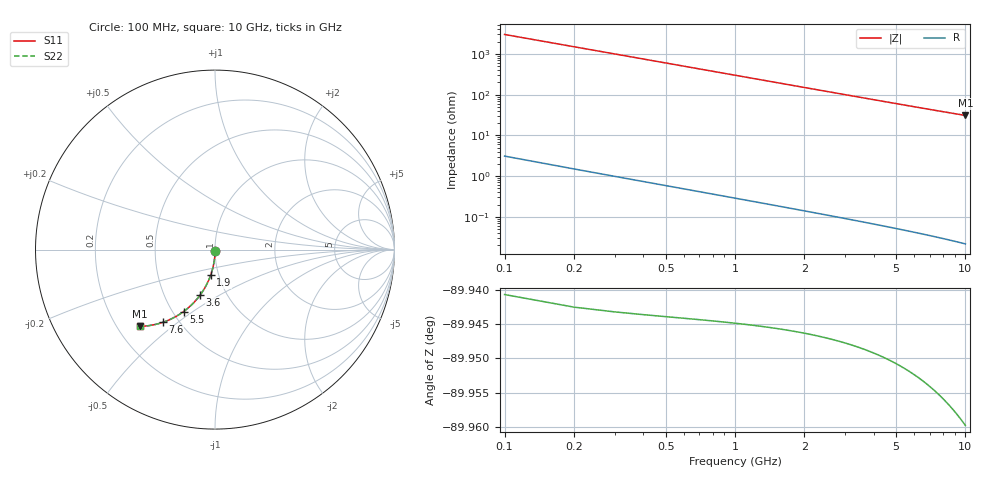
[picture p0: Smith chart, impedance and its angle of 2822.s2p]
# Hz S RI R 50.00
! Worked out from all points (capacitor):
!   100 points, 100 MHz to 10 GHz, reference 50 ohm
!   read as one part in shunt: C = 531 fF near 100 MHz
!   lowest |Z| = 30.9 ohm at 10 GHz (marker M1)
!   S11 on the Smith chart (normalised r, x): 100 MHz: 1.00, -0.02; 1.9 GHz: 0.92, -0.27; 3.6 GHz: 0.75, -0.41; 5.5 GHz: 0.57, -0.46; 7.6 GHz: 0.41, -0.44; 10 GHz: 0.29, -0.39
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1e8  0.000281 -0.00769  0.9996 -0.00898  0.9996 -0.00898  0.000281 -0.00769
2e8  6.79e-05 -0.0154  0.9993 -0.018  0.9993 -0.018  6.79e-05 -0.0154
3e8  -0.000284 -0.0231  0.999 -0.0269  0.999 -0.0269  -0.000284 -0.0231
4e8  -0.000773 -0.0307  0.9985 -0.0359  0.9985 -0.0359  -0.000773 -0.0307
5e8  -0.0014 -0.0384  0.9978 -0.0448  0.9978 -0.0448  -0.0014 -0.0384
6e8  -0.00216 -0.046  0.9971 -0.0538  0.9971 -0.0538  -0.00216 -0.046
8e8  -0.0041 -0.0613  0.9951 -0.0716  0.9951 -0.0716  -0.0041 -0.0613
1.1e9  -0.00802 -0.0839  0.9911 -0.0981  0.9911 -0.0981  -0.00802 -0.0839
1.4e9  -0.0131 -0.1062  0.986 -0.1242  0.986 -0.1242  -0.0131 -0.1062
1.8e9  -0.0217 -0.1353  0.9773 -0.1585  0.9773 -0.1585  -0.0217 -0.1353
1.9e9  -0.0242 -0.1424  0.9748 -0.1669  0.9748 -0.1669  -0.0242 -0.1424
2.2e9  -0.0322 -0.1635  0.9666 -0.1919  0.9666 -0.1919  -0.0322 -0.1635
2.6e9  -0.0446 -0.1906  0.9541 -0.2242  0.9541 -0.2242  -0.0446 -0.1906
3.4e9  -0.0742 -0.2411  0.924 -0.285  0.924 -0.285  -0.0742 -0.2411
3.6e9  -0.0825 -0.2528  0.9156 -0.2993  0.9156 -0.2993  -0.0825 -0.2528
4.3e9  -0.1141 -0.291  0.8836 -0.3466  0.8836 -0.3466  -0.1141 -0.291
5.1e9  -0.1538 -0.3286  0.8432 -0.3947  0.8432 -0.3947  -0.1538 -0.3286
5.5e9  -0.1747 -0.345  0.8219 -0.4163  0.8219 -0.4163  -0.1747 -0.345
6.7e9  -0.2401 -0.3844  0.7553 -0.4716  0.7553 -0.4716  -0.2401 -0.3844
7.6e9  -0.2899 -0.4049  0.7043 -0.5041  0.7043 -0.5041  -0.2899 -0.4049
8.4e9  -0.3337 -0.4173  0.6594 -0.5271  0.6594 -0.5271  -0.3337 -0.4173
1e10  -0.4173 -0.4276  0.5731 -0.5591  0.5731 -0.5591  -0.4173 -0.4276
